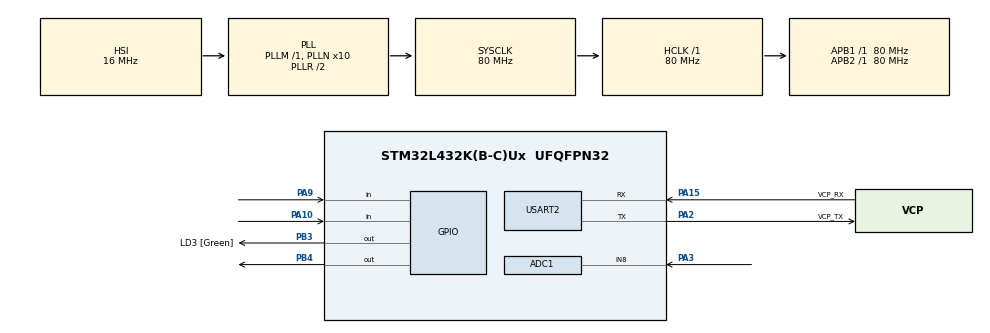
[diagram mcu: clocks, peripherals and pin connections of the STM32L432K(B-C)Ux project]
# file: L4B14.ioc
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ADC1.Channel-1\#ChannelRegularConversion=ADC_CHANNEL_8
ADC1.ClockPrescaler=ADC_CLOCK_ASYNC_DIV32
ADC1.ContinuousConvMode=DISABLE
ADC1.DMAContinuousRequests=ENABLE
ADC1.EOCSelection=ADC_EOC_SINGLE_CONV
ADC1.EnableRegularConversion=ENABLE
ADC1.ExternalTrigConv=ADC_EXTERNALTRIG_T15_TRGO
ADC1.NbrOfConversion=1
ADC1.NbrOfConversionFlag=1
ADC1.OffsetNumber-1\#ChannelRegularConversion=ADC_OFFSET_NONE
ADC1.Rank-1\#ChannelRegularConversion=1
ADC1.SamplingTime-1\#ChannelRegularConversion=ADC_SAMPLETIME_2CYCLES_5
ADC1.master=1
Dma.ADC1.0.Direction=DMA_PERIPH_TO_MEMORY
Dma.ADC1.0.Instance=DMA1_Channel1
Dma.ADC1.0.MemDataAlignment=DMA_MDATAALIGN_HALFWORD
Dma.ADC1.0.MemInc=DMA_MINC_ENABLE
Dma.ADC1.0.Mode=DMA_NORMAL
Dma.ADC1.0.PeriphDataAlignment=DMA_PDATAALIGN_HALFWORD
Dma.ADC1.0.PeriphInc=DMA_PINC_DISABLE
Dma.ADC1.0.Priority=DMA_PRIORITY_LOW
Dma.Request0=ADC1
FREERTOS.Mutexes01=MUTEX_UART_2,Static,MUTEX_UART_2ControlBlock
FREERTOS.Tasks01=defaultTask,48,256,StartDefaultTask,Default,NULL,Dynamic,NULL,NULL;btn1task,24,128,Startbtn1task,Default,NULL,Dynamic,NULL,NULL;btn2task,24,128,Startbtn2task,Default,NULL,Dynamic,NULL,NULL
Mcu.Family=STM32L4
Mcu.Name=STM32L432K(B-C)Ux
Mcu.Package=UFQFPN32
NVIC.DMA1_Channel1_IRQn=true\:5\:0\:false\:false\:true\:true\:false\:true\:true
NVIC.PriorityGroup=NVIC_PRIORITYGROUP_4
NVIC.TIM1_BRK_TIM15_IRQn=true\:5\:0\:false\:false\:true\:true\:true\:true\:true
NVIC.TIM1_UP_TIM16_IRQn=true\:15\:0\:false\:false\:true\:false\:false\:true\:true
NVIC.TIM2_IRQn=true\:5\:0\:true\:false\:true\:true\:true\:true\:true
NVIC.TimeBase=TIM1_UP_TIM16_IRQn
NVIC.TimeBaseIP=TIM1
PA0.GPIO_Label=MCO [High speed clock in]
PA0.Mode=HSE-External-Clock-Source-for-LittleOrca
PA0.Signal=RCC_CK_IN
PA10.GPIO_PuPd=GPIO_PULLUP
PA10.Signal=GPIO_Input
PA13\ (JTMS-SWDIO).GPIO_Label=SWDIO
PA13\ (JTMS-SWDIO).Mode=Serial_Wire
PA13\ (JTMS-SWDIO).Signal=SYS_JTMS-SWDIO
PA14\ (JTCK-SWCLK).GPIO_Label=SWCLK
PA14\ (JTCK-SWCLK).Mode=Serial_Wire
PA14\ (JTCK-SWCLK).Signal=SYS_JTCK-SWCLK
PA15\ (JTDI).GPIO_Label=VCP_RX
PA15\ (JTDI).Mode=Asynchronous
PA15\ (JTDI).Signal=USART2_RX
PA2.GPIO_Label=VCP_TX
PA2.Mode=Asynchronous
PA2.Signal=USART2_TX
PA3.Signal=ADCx_IN8
PA9.GPIO_PuPd=GPIO_PULLUP
PA9.Signal=GPIO_Input
PB3\ (JTDO-TRACESWO).GPIO_Label=LD3 [Green]
PB3\ (JTDO-TRACESWO).Signal=GPIO_Output
PB4\ (NJTRST).Signal=GPIO_Output
PC14-OSC32_IN\ (PC14).Mode=LSE-External-Oscillator
PC14-OSC32_IN\ (PC14).Signal=RCC_OSC32_IN
PC15-OSC32_OUT\ (PC15).Mode=LSE-External-Oscillator
PC15-OSC32_OUT\ (PC15).Signal=RCC_OSC32_OUT
ProjectManager.HeapSize=0x200
ProjectManager.StackSize=0x400
ProjectManager.TargetToolchain=Makefile
RCC.ADCFreq_Value=64000000
RCC.AHBFreq_Value=80000000
RCC.APB1Freq_Value=80000000
RCC.APB1TimFreq_Value=80000000
RCC.APB2Freq_Value=80000000
RCC.APB2TimFreq_Value=80000000
RCC.CortexFreq_Value=80000000
RCC.HCLKFreq_Value=80000000
RCC.HSE_VALUE=8000000
RCC.HSI16_VALUE=16000000
RCC.HSI48_VALUE=48000000
RCC.HSI_VALUE=16000000
RCC.MSI_VALUE=4000000
RCC.PLLMUL=RCC_PLLMUL_4
RCC.PLLN=10
RCC.PLLSourceVirtual=RCC_PLLSOURCE_HSI
RCC.SYSCLKFreq_VALUE=80000000
RCC.SYSCLKSource=RCC_SYSCLKSOURCE_PLLCLK
RCC.USBFreq_Value=64000000
RCC.VCOOutputFreq_Value=160000000
SH.ADCx_IN8.0=ADC1_IN8,IN8-Single-Ended
TIM15.Period=5000
TIM15.TIM_MasterOutputTrigger=TIM_TRGO_UPDATE
TIM2.ClockDivision=TIM_CLOCKDIVISION_DIV1
TIM2.Period=80000
TIM2.Prescaler=100
TIM2.TIM_MasterOutputTrigger=TIM_TRGO_UPDATE
USART2.VirtualMode-Asynchronous=VM_ASYNC
VP_FREERTOS_VS_CMSIS_V2.Mode=CMSIS_V2
VP_SYS_VS_tim1.Mode=TIM1
VP_TIM15_VS_ClockSourceINT.Mode=Internal
VP_TIM2_VS_ClockSourceINT.Mode=Internal
board=NUCLEO-L432KC

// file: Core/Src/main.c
/* USER CODE BEGIN Header */
/**
  ******************************************************************************
  * @file           : main.c
  * @brief          : Main program body
  ******************************************************************************
  * @attention
  *
  * Copyright (c) 2023 STMicroelectronics.
  * All rights reserved.
  *
  * This software is licensed under terms that can be found in the LICENSE file
  * in the root directory of this software component.
  * If no LICENSE file comes with this software, it is provided AS-IS.
  *
  ******************************************************************************
  */
/* USER CODE END Header */
#include "main.h"
#include "cmsis_os.h"
#include "adc.h"
#include "dma.h"
#include "tim.h"
#include "usart.h"
#include "gpio.h"

/* USER CODE BEGIN Includes */
#include <stdio.h>
#include "arm_math.h"
/* USER CODE END Includes */

/* USER CODE BEGIN PV */
volatile uint8_t debounce1 = 0;
volatile uint8_t debounce2 = 0;
volatile uint8_t btn1_flg = 0;
volatile uint8_t btn2_flg = 0;
volatile uint16_t adc_buffer_1[myDMA_buffer_length/2] = {0};
volatile uint16_t adc_buffer_2[myDMA_buffer_length/2] = {0};
volatile float32_t input_buffer[myDMA_buffer_length] = {0};
volatile uint8_t read_to_buf_1 = 0;
volatile uint8_t read_to_buf_2 = 1;
volatile uint8_t ready_to_process = 0;
float32_t RMS_VLU = 0;
uint32_t tick = 0;

/* USER CODE END PV */

void SystemClock_Config(void);
void MX_FREERTOS_Init(void);

int main(void)
{

  /* MCU Configuration--------------------------------------------------------*/

  /* Reset of all peripherals, Initializes the Flash interface and the Systick. */
  HAL_Init();

  /* Configure the system clock */
  SystemClock_Config();

  /* Initialize all configured peripherals */
  MX_GPIO_Init();
  MX_DMA_Init();
  MX_USART2_UART_Init();
  MX_TIM2_Init();
  MX_ADC1_Init();
  MX_TIM15_Init();
  /* USER CODE BEGIN 2 */
  HAL_TIM_OC_Start_IT(&htim15,TIM_CHANNEL_2);

  if ((HAL_ADC_Start_DMA(&hadc1,(uint32_t *)adc_buffer_1,myDMA_buffer_length/2)) != HAL_OK)
  {
    Error_Handler();
  }

  traceSTART();

  /* USER CODE END 2 */

  /* Init scheduler */
  osKernelInitialize();  /* Call init function for freertos objects (in freertos.c) */
  MX_FREERTOS_Init();

  /* Start scheduler */

  osKernelStart();

  /* We should never get here as control is now taken by the scheduler */
  /* Infinite loop */
  while (1)
  {
  }

}

void SystemClock_Config(void)
{
  RCC_OscInitTypeDef RCC_OscInitStruct = {0};
  RCC_ClkInitTypeDef RCC_ClkInitStruct = {0};

  /** Configure the main internal regulator output voltage
  */
  if (HAL_PWREx_ControlVoltageScaling(PWR_REGULATOR_VOLTAGE_SCALE1) != HAL_OK)
  {
    Error_Handler();
  }

  /** Initializes the RCC Oscillators according to the specified parameters
  * in the RCC_OscInitTypeDef structure.
  */
  RCC_OscInitStruct.OscillatorType = RCC_OSCILLATORTYPE_HSI;
  RCC_OscInitStruct.HSIState = RCC_HSI_ON;
  RCC_OscInitStruct.HSICalibrationValue = RCC_HSICALIBRATION_DEFAULT;
  RCC_OscInitStruct.PLL.PLLState = RCC_PLL_ON;
  RCC_OscInitStruct.PLL.PLLSource = RCC_PLLSOURCE_HSI;
  RCC_OscInitStruct.PLL.PLLM = 1;
  RCC_OscInitStruct.PLL.PLLN = 10;
  RCC_OscInitStruct.PLL.PLLP = RCC_PLLP_DIV7;
  RCC_OscInitStruct.PLL.PLLQ = RCC_PLLQ_DIV2;
  RCC_OscInitStruct.PLL.PLLR = RCC_PLLR_DIV2;
  if (HAL_RCC_OscConfig(&RCC_OscInitStruct) != HAL_OK)
  {
    Error_Handler();
  }

  /** Initializes the CPU, AHB and APB buses clocks
  */
  RCC_ClkInitStruct.ClockType = RCC_CLOCKTYPE_HCLK|RCC_CLOCKTYPE_SYSCLK
                              |RCC_CLOCKTYPE_PCLK1|RCC_CLOCKTYPE_PCLK2;
  RCC_ClkInitStruct.SYSCLKSource = RCC_SYSCLKSOURCE_PLLCLK;
  RCC_ClkInitStruct.AHBCLKDivider = RCC_SYSCLK_DIV1;
  RCC_ClkInitStruct.APB1CLKDivider = RCC_HCLK_DIV1;
  RCC_ClkInitStruct.APB2CLKDivider = RCC_HCLK_DIV1;

  if (HAL_RCC_ClockConfig(&RCC_ClkInitStruct, FLASH_LATENCY_4) != HAL_OK)
  {
    Error_Handler();
  }
}

/* USER CODE BEGIN 4 */

void HAL_TIM_OC_DelayElapsedCallback(TIM_HandleTypeDef *htim)
{
  //////////////DEBOUNCE TIMER/////////////TIMER2////////
  if(htim == &htim2)
  {
    //KNAPP 1 DEBOUNCE OCH SNABBARE BLINK////
    if(btn1_flg)
    {
      debounce1--;
      if(debounce1 == 0)
      { //Stäng av debounce
        btn1_flg = 0;
        HAL_TIM_OC_Stop_IT(&htim2,TIM_CHANNEL_4);
      }
    }
    //KNAPP 2 DEBOUNCE OCH Långsammare BLINK////
    else if(btn2_flg)
    {
      debounce2--;
      if(debounce2 == 0)
      { //Stäng av debounce
        btn2_flg = 0;
        HAL_TIM_OC_Stop_IT(&htim2,TIM_CHANNEL_4);
      }
    }
  }
  //TIMER 15 för adc
  if (htim == &htim15)
  {

  }
}

void HAL_ADC_ConvCpltCallback(ADC_HandleTypeDef *hdac)
{
  if(read_to_buf_1)
  {
    read_to_buf_1 = 0;
    //Buffer two ready to process
    read_to_buf_2 = 1;
    HAL_ADC_Stop_DMA(&hadc1);
    HAL_ADC_Start_DMA(&hadc1,(uint32_t *)adc_buffer_1,myDMA_buffer_length/2);

  }

  else if(read_to_buf_2)
  {
    read_to_buf_2 = 0;
    //Buffer 1 ready to process
    read_to_buf_1 = 1;
     HAL_ADC_Stop_DMA(&hadc1);
    HAL_ADC_Start_DMA(&hadc1,(uint32_t *)adc_buffer_2,myDMA_buffer_length/2);
  }
  ready_to_process = 1;

}
/* USER CODE END 4 */

void HAL_TIM_PeriodElapsedCallback(TIM_HandleTypeDef *htim)
{
  if (htim->Instance == TIM1) {
    HAL_IncTick();
  }
}

void Error_Handler(void)
{
  __disable_irq();
  while (1)
  {
  }
}

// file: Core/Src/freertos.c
/* USER CODE BEGIN Header */
/**
  ******************************************************************************
  * File Name          : freertos.c
  * Description        : Code for freertos applications
  ******************************************************************************
  * @attention
  *
  * Copyright (c) 2023 STMicroelectronics.
  * All rights reserved.
  *
  * This software is licensed under terms that can be found in the LICENSE file
  * in the root directory of this software component.
  * If no LICENSE file comes with this software, it is provided AS-IS.
  *
  ******************************************************************************
  */
/* USER CODE END Header */

#include "FreeRTOS.h"
#include "task.h"
#include "main.h"
#include "cmsis_os.h"

/* USER CODE BEGIN Includes */
#include <stdio.h>
/* USER CODE END Includes */

typedef StaticSemaphore_t osStaticMutexDef_t;

/* USER CODE BEGIN Variables */
volatile uint32_t Blink_delay = 0;
volatile uint8_t chars_read = 0;
char btn1_txt[255];
uint32_t std_task = 0;
uint32_t btn1_task = 0;
uint32_t btn2_task = 0;
osStatus_t os_status;
/* USER CODE END Variables */
/* Definitions for defaultTask */
osThreadId_t defaultTaskHandle;
const osThreadAttr_t defaultTask_attributes = {
  .name = "defaultTask",
  .stack_size = 256 * 4,
  .priority = (osPriority_t) osPriorityRealtime,
};
/* Definitions for btn1task */
osThreadId_t btn1taskHandle;
const osThreadAttr_t btn1task_attributes = {
  .name = "btn1task",
  .stack_size = 128 * 4,
  .priority = (osPriority_t) osPriorityNormal,
};
/* Definitions for btn2task */
osThreadId_t btn2taskHandle;
const osThreadAttr_t btn2task_attributes = {
  .name = "btn2task",
  .stack_size = 128 * 4,
  .priority = (osPriority_t) osPriorityNormal,
};
/* Definitions for MUTEX_UART_2 */
osMutexId_t MUTEX_UART_2Handle;
osStaticMutexDef_t MUTEX_UART_2ControlBlock;
const osMutexAttr_t MUTEX_UART_2_attributes = {
  .name = "MUTEX_UART_2",
  .cb_mem = &MUTEX_UART_2ControlBlock,
  .cb_size = sizeof(MUTEX_UART_2ControlBlock),
};

void StartDefaultTask(void *argument);
void Startbtn1task(void *argument);
void Startbtn2task(void *argument);

void MX_FREERTOS_Init(void); /* (MISRA C 2004 rule 8.1) */

void MX_FREERTOS_Init(void) {
  /* Create the mutex(es) */
  /* creation of MUTEX_UART_2 */
  MUTEX_UART_2Handle = osMutexNew(&MUTEX_UART_2_attributes);

  /* Create the thread(s) */
  /* creation of defaultTask */
  defaultTaskHandle = osThreadNew(StartDefaultTask, NULL, &defaultTask_attributes);

  /* creation of btn1task */
  btn1taskHandle = osThreadNew(Startbtn1task, NULL, &btn1task_attributes);

  /* creation of btn2task */
  btn2taskHandle = osThreadNew(Startbtn2task, NULL, &btn2task_attributes);

}

void StartDefaultTask(void *argument)
{
  /* USER CODE BEGIN StartDefaultTask */
  /* Infinite loop */
  for(;;)
  {
    std_task++;
    if(Blink_delay == 0)
    {
      HAL_GPIO_WritePin(GPIOB,GPIO_PIN_4,RESET);
    }
    else
    {
      if(osKernelGetTickCount()-tick > Blink_delay)
      {
        HAL_GPIO_TogglePin(GPIOB,GPIO_PIN_4);
        tick = osKernelGetTickCount();
      }
    }

     if(read_to_buf_1)
    {
      for(int i = 0; i < myDMA_buffer_length/2 ; i++)
      {
        input_buffer[i] = ((float32_t)adc_buffer_1[i]-2048.0);

      }
    }
    //Buffer 2 ready to process
    if(read_to_buf_2)
    {
      for(int i = 0; i < myDMA_buffer_length/2 ; i++)
      {
        input_buffer[myDMA_buffer_length/2 + i] = ((float32_t)adc_buffer_2[i]-2048.0);
      }

    }
    /* USER CODE END WHILE */

    /* USER CODE BEGIN 3 */
    if(ready_to_process)
    {
      arm_rms_f32(input_buffer,myDMA_buffer_length,&RMS_VLU);

      uint32_t print = (uint32_t) RMS_VLU;
      chars_read = sprintf(btn1_txt, " RMS Value = %d\n\r",print);

      os_status = osMutexAcquire(MUTEX_UART_2Handle,1000);
      if(os_status==osOK)
      {
        HAL_UART_Transmit(&huart2,btn1_txt,chars_read,1000);
        osMutexRelease(MUTEX_UART_2Handle);
      }
      else
      {
        printf("fail");
      }

      ready_to_process = 0;

      if(print > 999)
      {
        chars_read = sprintf(btn1_txt, " Warning sound level too high!\n\r",print);

        os_status = osMutexAcquire(MUTEX_UART_2Handle,1000);
        if(os_status==osOK)
        {
          HAL_UART_Transmit(&huart2,btn1_txt,chars_read,1000);
          osMutexRelease(MUTEX_UART_2Handle);
        }
        else
        {
          printf("fail");
        }

      }
    }
    osDelay(1);
  }
  /* USER CODE END StartDefaultTask */
}

void Startbtn1task(void *argument)
{
  /* USER CODE BEGIN Startbtn1task */
  /* Infinite loop */
  for(;;)
  {
    btn1_task++;
    if(debounce1 == 0)
    {
      if(HAL_GPIO_ReadPin(GPIOA,GPIO_PIN_10) == RESET)
      {

        debounce1 = 2;
        btn1_flg = 1;
        Blink_delay += 75;
        chars_read = sprintf(btn1_txt, " User_PushButton-2 was pressed! Current Blink_Delay =%d ",Blink_delay);
        //SEND WITH MUTEX
        os_status = osMutexAcquire(MUTEX_UART_2Handle,1000);
        if(os_status==osOK)
        {
          HAL_UART_Transmit(&huart2,btn1_txt,chars_read,1000);
          osMutexRelease(MUTEX_UART_2Handle);
        }
        else
        {
          printf("fail");
        }

        HAL_TIM_OC_Start_IT(&htim2,TIM_CHANNEL_4);
      }
    }

    osDelay(1);
  }
  /* USER CODE END Startbtn1task */
}

void Startbtn2task(void *argument)
{
  /* USER CODE BEGIN Startbtn2task */
  /* Infinite loop */
  for(;;)
  {
    btn2_task++;
    if(debounce2 == 0)
    {
      if(HAL_GPIO_ReadPin(GPIOA,GPIO_PIN_9) == RESET)
      {

        debounce2 = 2;
        btn2_flg = 1;
        HAL_TIM_OC_Start_IT(&htim2,TIM_CHANNEL_4);

         if(Blink_delay <= 75)
         {
            /////Slå av
            Blink_delay = 0;
            chars_read = sprintf(btn1_txt, " User_PushButton-1 was pressed! Current Blink_Delay =%d ",Blink_delay);

            os_status = osMutexAcquire(MUTEX_UART_2Handle,1000);
            if(os_status==osOK)
            {
              HAL_UART_Transmit(&huart2,btn1_txt,chars_read,1000);
              osMutexRelease(MUTEX_UART_2Handle);
            }
            else
            {
              printf("fail");
            }

          }
        //Öka delay
        else
        {
          ////250 ~= 75 ms toggle speed
          Blink_delay -= 75;
          chars_read = sprintf(btn1_txt, " User_PushButton-1 was pressed! Current Blink_Delay =%d ",Blink_delay);

          os_status = osMutexAcquire(MUTEX_UART_2Handle,1000);
          if(os_status==osOK)
          {
            HAL_UART_Transmit(&huart2,btn1_txt,chars_read,1000);
            osMutexRelease(MUTEX_UART_2Handle);
          }
          else
          {
            printf("fail");
          }

        }
      }
    }
    osDelay(1);
  }
  /* USER CODE END Startbtn2task */
}
